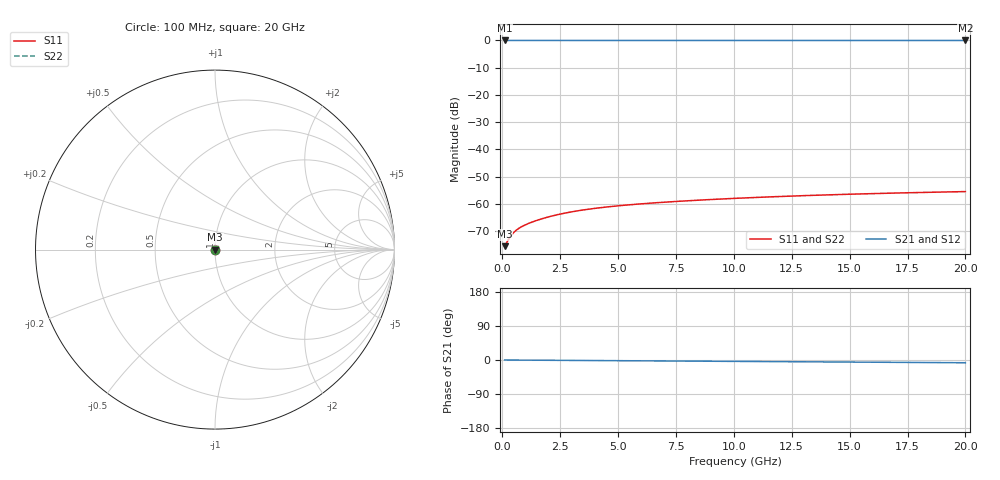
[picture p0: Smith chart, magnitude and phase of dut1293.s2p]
! Touchstone file exported from HFSS 2026.1.0
!  File:  C:/ffzhzh/LocalFiles/Ansys_Project_Files/temp_train_TSV_1293_1783194553_22436.aedt
!  Generated:  03:50:38 AM Jul  5, 2026
!  Design:  TSV
!  Project:  temp_train_TSV_1293_1783194553_22436
! Variables:
!  h_bsmrdl = 2um
!  h_ox = 20um
!  h_rdl = 5um
!  h_sub = 74.05um
!  h_tmrdl = 5um
!  h_tsv = 74.05um
!  h_via = 3um
!  l_bsmrdl = 300um
!  l_sub = 416.84um
!  l_tmrdl = 200um
!  m_sub = 200um
!  pitch = 34.43um
!  r_tsv = 8.42um
!  s_tmrdl = 10um
!  w_bsmrdl = 18um
!  w_sub = 500um
!  w_tmrdl = 12um
!  x_tsv_center1 = 206um
!  x_tsv_center2 = 524um
!  x_tsv_center3 = 736um
!  x_tsv_center4 = 1054um
!  x_tsv_center5 = 1266um
!  x_tsv_center6 = 1584um
# GHz S MA R 50.000000
! Terminal data exported
! Port[1] = TSV1_1_T1
! Port[2] = TSV1_1_T2
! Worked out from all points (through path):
!   200 points, 100 MHz to 20 GHz, reference 50 ohm
!   highest |S21| = 0.00 dB at 100 MHz (marker M1); lowest = 0.0 dB at 20 GHz (marker M2)
!   group delay of S21, straight-line fit = 1.01 ps
!   lowest |S11| = -75.6 dB at 100 MHz (marker M3), VSWR 1.00, Z = 50 + j0.00486 ohm
!   |S11| at or under -10 dB: start of sweep to end of sweep
!   |S22| runs from -75.6 to -55.5 dB; largest |S21 - S12| = 4.1e-15
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0.1  0.0001663 17.0  0.9998 -0.0  0.9998 -0.0  0.0001663 17.0
! Gamma 0 0 0 0
! Port Impedance 50 0 50 0
0.3  0.0002327 33.6  0.9998 -0.1  0.9998 -0.1  0.0002327 33.6
0.4  0.0002674 36.2  0.9998 -0.2  0.9998 -0.2  0.0002673 36.2
0.5  0.0002985 37.4  0.9998 -0.2  0.9998 -0.2  0.0002983 37.4
0.6  0.0003258 38.1  0.9997 -0.2  0.9997 -0.2  0.0003256 38.0
0.7  0.0003501 38.5  0.9997 -0.3  0.9997 -0.3  0.0003497 38.4
0.8  0.0003719 38.8  0.9997 -0.3  0.9997 -0.3  0.0003716 38.8
1  0.0004111 39.3  0.9997 -0.4  0.9997 -0.4  0.0004107 39.4
1.2  0.0004466 39.9  0.9996 -0.5  0.9996 -0.5  0.0004462 39.9
1.5  0.0004965 40.6  0.9996 -0.6  0.9996 -0.6  0.0004962 40.7
2.1  0.0005891 41.3  0.9995 -0.8  0.9995 -0.8  0.0005891 41.4
2.8  0.0006859 41.1  0.9995 -1.0  0.9995 -1.0  0.000686 41.1
3.5  0.0007702 40.3  0.9994 -1.3  0.9994 -1.3  0.0007703 40.3
4.2  0.0008435 39.4  0.9994 -1.5  0.9994 -1.5  0.0008435 39.4
4.9  0.0009081 38.5  0.9993 -1.8  0.9993 -1.8  0.000908 38.5
5.8  0.0009818 37.5  0.9992 -2.1  0.9992 -2.1  0.0009816 37.5
6.8  0.001055 36.5  0.9992 -2.5  0.9992 -2.5  0.001055 36.5
8.3  0.001154 35.1  0.9991 -3.0  0.9991 -3.0  0.001154 35.1
10.1  0.00126 33.6  0.999 -3.7  0.999 -3.7  0.00126 33.6
13.4  0.001427 30.6  0.9989 -4.9  0.9989 -4.9  0.001427 30.6
16.7  0.001564 27.6  0.9987 -6.1  0.9987 -6.1  0.001563 27.6
20  0.001673 24.7  0.9986 -7.3  0.9986 -7.3  0.001672 24.7
